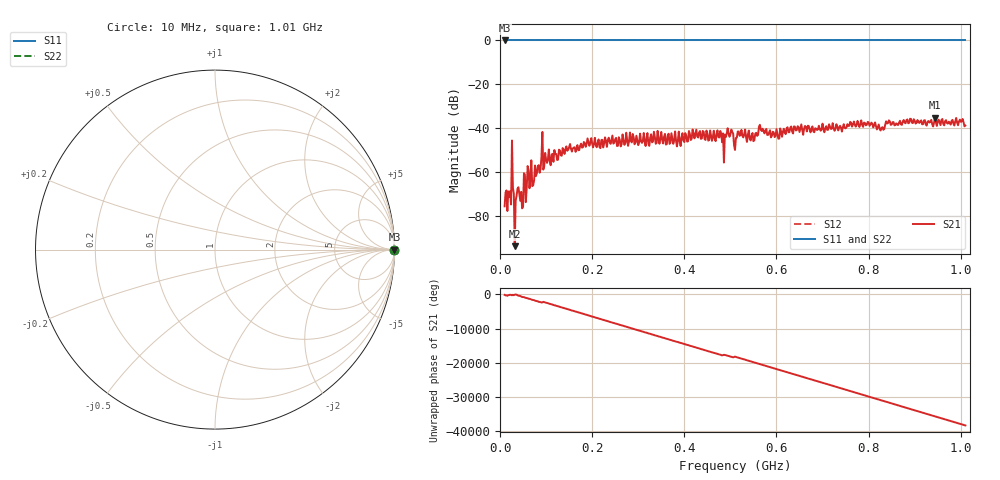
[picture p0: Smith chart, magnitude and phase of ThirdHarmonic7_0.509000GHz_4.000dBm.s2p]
! 8/17/2025 2:45:44 PM
! C:\ANRITSUVNA\TEMP\TEMP.S2P
! CHANNEL.1
! TR.MEASUREMENT
! RAW.DATA
! RF.CORRECTION.OFF
! AVERAGING.OFF
! IF.BANDWIDTH: 5KHZ
! SWEEPTYPE:  FREQ.SWEEP(Linear)
! Reference Plane Port Info
! PORT:  PORT1  PORT2
! DISTANCE:  0  m  0  m
! TIME:  0  s  0  s
! PHASE.OFFSET:  0  deg.  0  deg.
! LOSS:  0  dB  0  dB
! REF.LOSS:  0  dB  0  dB
! REF.FREQ:  0  Hz  0  Hz
! Power Info
! POWER:  -20  dBm  -20  dBm
! EFF.POWER:  -20  dBm  -20  dBm
! SOURCE.ATTEN:  0  dB  0  dB
! TEST.ATTEN:  0  dB  0  dB
# GHZ S RI R 50.0
! FREQ.GHZ  S11RE  S11IM  S21RE  S21IM  S12RE  S12IM  S22RE  S22IM
!; PortSelection: Port_12
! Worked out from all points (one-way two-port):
!   501 points, 10 MHz to 1.01 GHz, reference 50 ohm
!   highest |S21| = -35.27 dB at 944 MHz (marker M1); lowest = -94.0 dB at 32 MHz (marker M2)
!   lowest |S11| = 0.0 dB at 10 MHz (marker M3)
!   |S11| at or under -10 dB: nowhere
!   |S22| runs from 0.0 to 0.0 dB; largest |S21 - S12| = 1
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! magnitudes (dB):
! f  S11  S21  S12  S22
! 10 MHz  0.0  -75.8  0.0  0.0
! 20 MHz  0.0  -71.5  0.0  0.0
! 22 MHz  0.0  -68.8  0.0  0.0
! 26 MHz  0.0  -45.7  0.0  0.0
! 32 MHz  0.0  -94.0  0.0  0.0
! 42 MHz  0.0  -70.1  0.0  0.0
! 46 MHz  0.0  -69.2  0.0  0.0
! 64 MHz  0.0  -67.5  0.0  0.0
! 74 MHz  0.0  -63.9  0.0  0.0
! 94 MHz  0.0  -59.0  0.0  0.0
! 98 MHz  0.0  -51.4  0.0  0.0
! 178 MHz  0.0  -49.0  0.0  0.0
! 344 MHz  0.0  -44.7  0.0  0.0
! 476 MHz  0.0  -44.4  0.0  0.0
! 486 MHz  0.0  -55.8  0.0  0.0
! 498 MHz  0.0  -44.0  0.0  0.0
! 510 MHz  0.0  -50.0  0.0  0.0
! 566 MHz  0.0  -40.8  0.0  0.0
! 678 MHz  0.0  -39.3  0.0  0.0
! 844 MHz  0.0  -36.5  0.0  0.0
! 944 MHz  0.0  -35.3  0.0  0.0
! 1.01 GHz  0.0  -38.9  0.0  0.0
